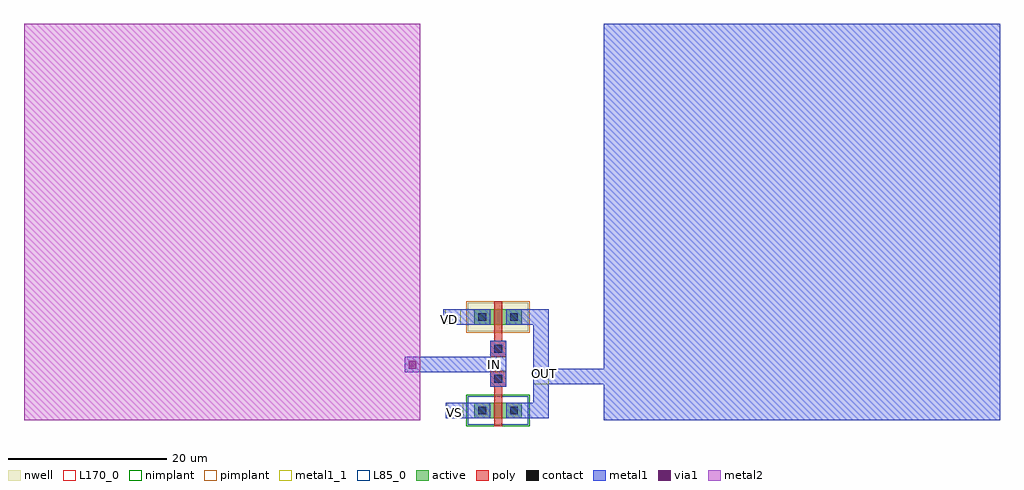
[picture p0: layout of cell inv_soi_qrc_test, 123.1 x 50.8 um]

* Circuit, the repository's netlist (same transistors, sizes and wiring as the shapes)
* +++++++++++++++++++++++++++++++++++++++++++++++++++++++++ *
* CDL Netlist:                                              *
*                                                           *
* Cell Name  : inv_soi_qrc_test                             *
* Netlisted  : Wed Nov 10 12:57:34 2021                     *
* PVS Version: 16.15-s010 Fri Jun 28 22:24:07 PDT 2019      *
* +++++++++++++++++++++++++++++++++++++++++++++++++++++++++ *
*.LDD
*.DEVTMPLT 0 MN(nmos3) _nmos1v _soi_nd(D) poly_conn(G) _soi_nsb(S) _soi_nsb(B)
*.DEVTMPLT 1 MP(pmos3) _pmos1v _soi_pd(D) poly_conn(G) _soi_psb(S) _soi_psb(B)

* +++++++++++++++++++++++++++++++++++++++++++++++++++++++++ *
* Sub cell: nmos3_CDNS_2                                    *
* +++++++++++++++++++++++++++++++++++++++++++++++++++++++++ *
.subckt nmos3_CDNS_2 2 3 4
** N=4 EP=3 FDC=1
M0 2 3 4 4 nmos3 L=1e-06 W=2e-06 AD=5e-12 AS=0 PD=9e-06 PS=0 fw=2e-06 sa=2e-06 sb=2e-06 $X=7000 $Y=2000 $dt=0
.ends nmos3_CDNS_2

* +++++++++++++++++++++++++++++++++++++++++++++++++++++++++ *
* Sub cell: pmos3_CDNS_3                                    *
* +++++++++++++++++++++++++++++++++++++++++++++++++++++++++ *
.subckt pmos3_CDNS_3 2 3 4
** N=5 EP=3 FDC=1
M0 2 3 4 4 pmos3 L=1e-06 W=2e-06 AD=5e-12 AS=0 PD=9e-06 PS=0 fw=2e-06 sa=2e-06 sb=2e-06 $X=7000 $Y=2000 $dt=1
.ends pmos3_CDNS_3

* +++++++++++++++++++++++++++++++++++++++++++++++++++++++++ *
* Sub cell: inv_soi_qrc_test                                *
* +++++++++++++++++++++++++++++++++++++++++++++++++++++++++ *
.subckt inv_soi_qrc_test IN OUT VD VS
** N=5 EP=4 FDC=2
X0 OUT IN VS nmos3_CDNS_2 $T=27400 3200 1 180 $X=11400 $Y=3200
X1 OUT IN VD pmos3_CDNS_3 $T=27400 34800 0 180 $X=11400 $Y=20800
.ends inv_soi_qrc_test

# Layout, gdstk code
from math import pi, radians
import gdstk
lib = gdstk.Library(unit=1e-6, precision=5e-10)
def R(c, l, rs):  # rectangles x0, y0, x1, y1
    for r in rs: c.add(gdstk.rectangle(r[:2], r[2:], *l))
active = (1, 0)
nwell = (2, 0)
poly = (3, 0)
nimplant = (4, 0)
pimplant = (5, 0)
contact = (6, 0)
metal1 = (7, 0)
metal1_1 = (7, 1)
via1 = (8, 0)
metal2 = (9, 0)
L85_0 = (85, 0)
L170_0 = (170, 0)

nmos3_cdns_2 = lib.new_cell('nmos3_CDNS_2')
R(nmos3_cdns_2, active, [(1,1,7,3)])
R(nmos3_cdns_2, poly, [(3.5,0,4.5,5), (3.6,3.5,4.4,3.9), (3,5,5,7)])
R(nmos3_cdns_2, nimplant, [(0,0,8,4)])
R(nmos3_cdns_2, contact, [(1.5,1.5,2.5,2.5), (5.5,1.5,6.5,2.5), (5.5,1.5,6.5,2.5), (3.5,5.5,4.5,6.5)])
R(nmos3_cdns_2, metal1, [(1,1,3,3), (5,1,7,3), (1.3,1.3,2.7,2.7), (5.3,1.3,6.7,2.7), (3,5,5,7), (3.3,5.3,4.7,6.7)])
R(nmos3_cdns_2, L85_0, [(0.2,0.2,7.8,3.8)])
R(nmos3_cdns_2, L170_0, [(4.5,1,7,3)])

pmos3_cdns_3 = lib.new_cell('pmos3_CDNS_3')
R(pmos3_cdns_3, active, [(1,1,7,3)])
R(pmos3_cdns_3, nwell, [(0.2,0.2,7.8,3.8)])
R(pmos3_cdns_3, poly, [(3.5,0,4.5,5), (3.6,3.6,4.4,3.9), (3,5,5,7)])
R(pmos3_cdns_3, pimplant, [(0,0,8,4)])
R(pmos3_cdns_3, contact, [(1.5,1.5,2.5,2.5), (5.5,1.5,6.5,2.5), (5.5,1.5,6.5,2.5), (3.5,5.5,4.5,6.5), (3.5,5.5,4.5,6.5)])
R(pmos3_cdns_3, metal1, [(1,1,3,3), (5,1,7,3), (1.3,1.3,2.7,2.7), (5.3,1.3,6.7,2.7), (3,5,5,7), (3.3,5.3,4.7,6.7)])
R(pmos3_cdns_3, L170_0, [(4.5,1,7,3)])

m2_m1_cdns_1 = lib.new_cell('M2_M1_CDNS_1')
R(m2_m1_cdns_1, metal1, [(-1,-1,1,1)])
R(m2_m1_cdns_1, via1, [(-0.5,-0.5,0.5,0.5)])
R(m2_m1_cdns_1, metal2, [(-1,-1,1,1)])

inv_soi_qrc_test = lib.new_cell('inv_soi_qrc_test')
R(inv_soi_qrc_test, metal1, [(23,2.4,73,52.4), (3.1,2.6,8.7,4.6), (8.7,6.6,10.7,12.4), (2.8,14.4,8.7,16.4)])
R(inv_soi_qrc_test, metal1_1, [(3.3,2.6,5.3,4.6), (14.1,6.9,16.1,8.9), (8.7,8.4,10.7,10.4), (3,14.4,5,16.4)])
R(inv_soi_qrc_test, metal2, [(-50.1,2.4,-0.1,52.4)])
inv_soi_qrc_test.add(gdstk.FlexPath([(8.7,9.4),(-1.1,9.4)], 2, ends="flush", simple_path=True, layer=7, datatype=0))  # metal1
inv_soi_qrc_test.add(gdstk.FlexPath([(16.1,7.9),(23.6,7.9)], 2, ends="flush", simple_path=True, layer=7, datatype=0))  # metal1
inv_soi_qrc_test.add(gdstk.FlexPath([(15.1,3.6),(11,3.6)], 2, ends=(1, 0), simple_path=True, layer=7, datatype=0))  # metal1
inv_soi_qrc_test.add(gdstk.FlexPath([(15.1,15.4),(15.1,3.6)], 2, ends="extended", simple_path=True, layer=7, datatype=0))  # metal1
inv_soi_qrc_test.add(gdstk.FlexPath([(12.4,15.4),(15.1,15.4)], 2, ends=(0, 1), simple_path=True, layer=7, datatype=0))  # metal1
inv_soi_qrc_test.add(gdstk.Reference(nmos3_cdns_2, (13.7,1.6), rotation=pi, x_reflection=True))
inv_soi_qrc_test.add(gdstk.Reference(pmos3_cdns_3, (13.7,17.4), rotation=pi))
inv_soi_qrc_test.add(gdstk.Reference(m2_m1_cdns_1, (-1.1,9.4)))
inv_soi_qrc_test.add(gdstk.Label('IN', (9.2,9.4), layer=7, texttype=3))
inv_soi_qrc_test.add(gdstk.Label('OUT', (15.6,8.3), layer=7, texttype=3))
inv_soi_qrc_test.add(gdstk.Label('VS', (4.2,3.4), layer=7, texttype=3))
inv_soi_qrc_test.add(gdstk.Label('VD', (3.6,15.1), layer=7, texttype=3))
inv_soi_qrc_test.add(gdstk.Label('VS', (4.3,3.6), layer=7, texttype=3))

lib.write_gds('inv_soi_qrc_test.gds')
